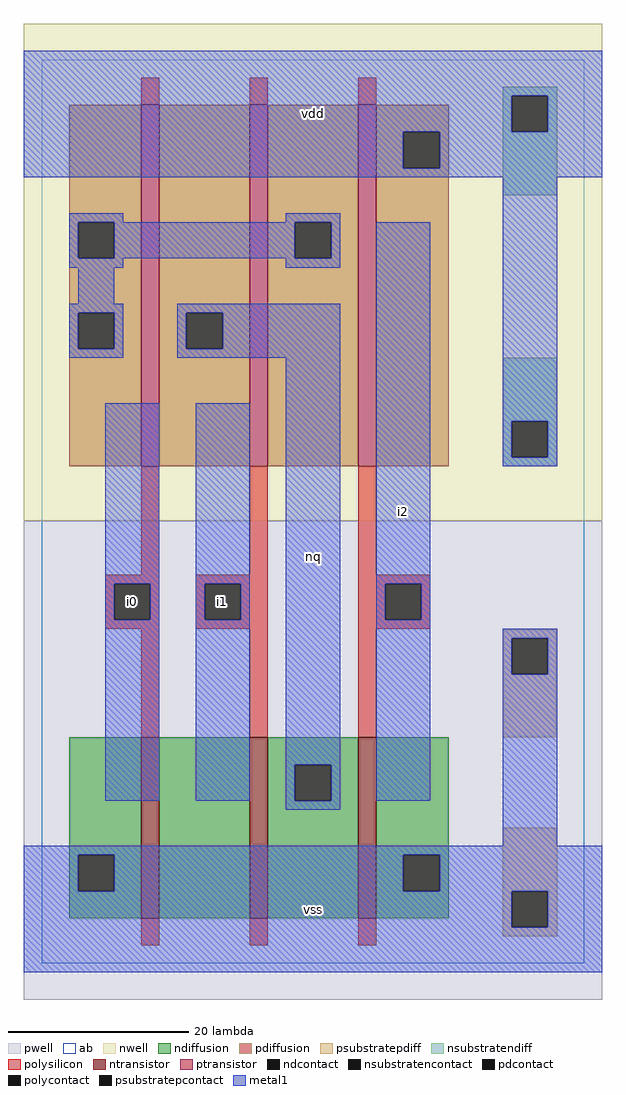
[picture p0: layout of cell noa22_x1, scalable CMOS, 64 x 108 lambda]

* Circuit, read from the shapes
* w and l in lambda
.subckt noa22_x1 i0 i1 i2 nq vdd vss
M1 n1 i0 vss vss nfet w=20 l=2
M2 nq i1 n1 vss nfet w=20 l=2
M3 vss i2 nq vss nfet w=20 l=2
M4 nq i0 n2 vdd pfet w=40 l=2
M5 n2 i1 nq vdd pfet w=40 l=2
M6 vdd i2 n2 vdd pfet w=40 l=2
.ends

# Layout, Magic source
magic
tech scmos
<< ab >>
rect 0 0 60 100
<< pwell >>
rect -2 -4 62 49
<< nwell >>
rect -2 49 62 104
<< polysilicon >>
rect 11 95 13 98
rect 23 95 25 98
rect 35 95 37 98
rect 11 43 13 55
rect 23 43 25 55
rect 7 42 13 43
rect 7 38 8 42
rect 12 38 13 42
rect 7 37 13 38
rect 17 42 25 43
rect 17 38 18 42
rect 22 38 25 42
rect 17 37 25 38
rect 11 25 13 37
rect 23 25 25 37
rect 35 43 37 55
rect 35 42 43 43
rect 35 38 38 42
rect 42 38 43 42
rect 35 37 43 38
rect 35 25 37 37
rect 11 2 13 5
rect 23 2 25 5
rect 35 2 37 5
<< ndiffusion >>
rect 3 12 11 25
rect 3 8 4 12
rect 8 8 11 12
rect 3 5 11 8
rect 13 5 23 25
rect 25 22 35 25
rect 25 18 28 22
rect 32 18 35 22
rect 25 5 35 18
rect 37 12 45 25
rect 37 8 40 12
rect 44 8 45 12
rect 37 5 45 8
<< pdiffusion >>
rect 3 82 11 95
rect 3 78 4 82
rect 8 78 11 82
rect 3 72 11 78
rect 3 68 4 72
rect 8 68 11 72
rect 3 55 11 68
rect 13 72 23 95
rect 13 68 16 72
rect 20 68 23 72
rect 13 55 23 68
rect 25 82 35 95
rect 25 78 28 82
rect 32 78 35 82
rect 25 55 35 78
rect 37 92 45 95
rect 37 88 40 92
rect 44 88 45 92
rect 37 55 45 88
<< metal1 >>
rect -2 96 62 101
rect -2 92 52 96
rect 56 92 62 96
rect -2 88 40 92
rect 44 88 62 92
rect -2 87 62 88
rect 3 82 9 83
rect 27 82 33 83
rect 3 78 4 82
rect 8 78 28 82
rect 32 78 33 82
rect 3 77 9 78
rect 27 77 33 78
rect 4 73 8 77
rect 3 72 9 73
rect 3 68 4 72
rect 8 68 9 72
rect 3 67 9 68
rect 15 72 33 73
rect 15 68 16 72
rect 20 68 33 72
rect 15 67 33 68
rect 7 42 13 62
rect 7 38 8 42
rect 12 38 13 42
rect 7 18 13 38
rect 17 42 23 62
rect 17 38 18 42
rect 22 38 23 42
rect 17 18 23 38
rect 27 22 33 67
rect 27 18 28 22
rect 32 18 33 22
rect 37 42 43 82
rect 51 60 57 87
rect 51 56 52 60
rect 56 56 57 60
rect 51 55 57 56
rect 37 38 38 42
rect 42 38 43 42
rect 37 18 43 38
rect 51 36 57 37
rect 51 32 52 36
rect 56 32 57 36
rect 27 17 33 18
rect 51 13 57 32
rect -2 12 62 13
rect -2 8 4 12
rect 8 8 40 12
rect 44 8 62 12
rect -2 4 52 8
rect 56 4 62 8
rect -2 -1 62 4
<< ntransistor >>
rect 11 5 13 25
rect 23 5 25 25
rect 35 5 37 25
<< ptransistor >>
rect 11 55 13 95
rect 23 55 25 95
rect 35 55 37 95
<< polycontact >>
rect 8 38 12 42
rect 18 38 22 42
rect 38 38 42 42
<< ndcontact >>
rect 4 8 8 12
rect 28 18 32 22
rect 40 8 44 12
<< pdcontact >>
rect 4 78 8 82
rect 4 68 8 72
rect 16 68 20 72
rect 28 78 32 82
rect 40 88 44 92
<< psubstratepcontact >>
rect 52 32 56 36
rect 52 4 56 8
<< nsubstratencontact >>
rect 52 92 56 96
rect 52 56 56 60
<< psubstratepdiff >>
rect 51 36 57 37
rect 51 32 52 36
rect 56 32 57 36
rect 51 25 57 32
rect 51 8 57 15
rect 51 4 52 8
rect 56 4 57 8
rect 51 3 57 4
<< nsubstratendiff >>
rect 51 96 57 97
rect 51 92 52 96
rect 56 92 57 96
rect 51 85 57 92
rect 51 60 57 67
rect 51 56 52 60
rect 56 56 57 60
rect 51 55 57 56
<< labels >>
rlabel polycontact 10 40 10 40 6 i0
rlabel polycontact 10 40 10 40 6 i0
rlabel polycontact 20 40 20 40 6 i1
rlabel polycontact 20 40 20 40 6 i1
rlabel metal1 30 6 30 6 6 vss
rlabel metal1 30 6 30 6 6 vss
rlabel metal1 30 45 30 45 6 nq
rlabel metal1 30 45 30 45 6 nq
rlabel metal1 40 50 40 50 6 i2
rlabel metal1 40 50 40 50 6 i2
rlabel metal1 30 94 30 94 6 vdd
rlabel metal1 30 94 30 94 6 vdd
<< end >>
